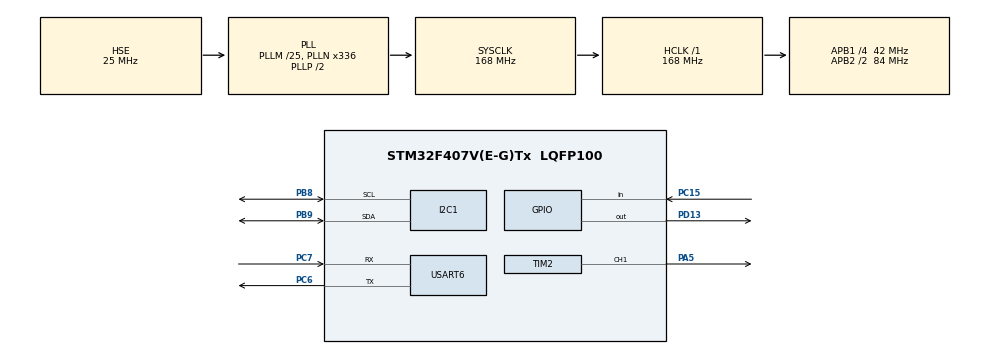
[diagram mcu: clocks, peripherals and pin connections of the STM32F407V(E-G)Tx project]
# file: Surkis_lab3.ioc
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I2C1.I2C_Mode=I2C_Standard
Mcu.Family=STM32F4
Mcu.Name=STM32F407V(E-G)Tx
Mcu.Package=LQFP100
NVIC.I2C1_ER_IRQn=true\:0\:0\:false\:false\:true\:true\:true
NVIC.I2C1_EV_IRQn=true\:0\:0\:false\:false\:true\:true\:true
NVIC.PriorityGroup=NVIC_PRIORITYGROUP_4
NVIC.TIM6_DAC_IRQn=true\:0\:0\:false\:false\:true\:true\:true
PA13.Mode=JTAG_5_pins
PA13.Signal=SYS_JTMS-SWDIO
PA14.Mode=JTAG_5_pins
PA14.Signal=SYS_JTCK-SWCLK
PA15.Mode=JTAG_5_pins
PA15.Signal=SYS_JTDI
PA5.Signal=S_TIM2_CH1_ETR
PB3.Mode=JTAG_5_pins
PB3.Signal=SYS_JTDO-SWO
PB4.Mode=JTAG_5_pins
PB4.Signal=SYS_JTRST
PB8.Mode=I2C
PB8.Signal=I2C1_SCL
PB9.Mode=I2C
PB9.Signal=I2C1_SDA
PC15-OSC32_OUT.Signal=GPIO_Input
PC6.Mode=Asynchronous
PC6.Signal=USART6_TX
PC7.Mode=Asynchronous
PC7.Signal=USART6_RX
PD13.Signal=GPIO_Output
PH0-OSC_IN.Mode=HSE-External-Oscillator
PH0-OSC_IN.Signal=RCC_OSC_IN
PH1-OSC_OUT.Mode=HSE-External-Oscillator
PH1-OSC_OUT.Signal=RCC_OSC_OUT
ProjectManager.HeapSize=0x200
ProjectManager.StackSize=0x400
ProjectManager.TargetToolchain=STM32CubeIDE
RCC.48MHZClocksFreq_Value=84000000
RCC.AHBFreq_Value=168000000
RCC.APB1CLKDivider=RCC_HCLK_DIV4
RCC.APB1Freq_Value=42000000
RCC.APB1TimFreq_Value=84000000
RCC.APB2CLKDivider=RCC_HCLK_DIV2
RCC.APB2Freq_Value=84000000
RCC.APB2TimFreq_Value=168000000
RCC.CortexFreq_Value=168000000
RCC.HCLKFreq_Value=168000000
RCC.HSE_VALUE=25000000
RCC.HSI_VALUE=16000000
RCC.LSE_VALUE=32768
RCC.PLLM=25
RCC.PLLN=336
RCC.PLLSourceVirtual=RCC_PLLSOURCE_HSE
RCC.SYSCLKFreq_VALUE=168000000
RCC.SYSCLKSource=RCC_SYSCLKSOURCE_PLLCLK
RCC.VCOOutputFreq_Value=336000000
SH.S_TIM2_CH1_ETR.0=TIM2_CH1,PWM Generation1 CH1
TIM2.Channel-PWM\ Generation1\ CH1=TIM_CHANNEL_1
TIM2.Period=10
TIM6.Period=100
TIM6.Prescaler=16000
USART6.VirtualMode=VM_ASYNC
VP_TIM6_VS_ClockSourceINT.Mode=Enable_Timer
board=custom

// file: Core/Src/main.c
/* USER CODE BEGIN Header */
/* USER CODE END Header */

#include "main.h"
#include "i2c.h"
#include "tim.h"
#include "usart.h"
#include "gpio.h"

/* USER CODE BEGIN Includes */
#include <stdio.h>
#include "buzzer.h"
#include "sdk_uart.h"
#include "kb.h"
/* USER CODE END Includes */

/* USER CODE BEGIN PTD */
enum MainState {
	MS_IDLE, MS_PLAY, MS_EDIT,
};
/* USER CODE END PTD */

/* USER CODE BEGIN PD */
#define FIFO_BUFFER_SIZE 32
/* USER CODE END PD */

/* USER CODE BEGIN PV */
uint8_t event_buf[FIFO_BUFFER_SIZE];
size_t write_ptr = 0;
size_t read_ptr = 0;
int btn_state_prev = 0;
int btn_state = 0;
char print_buf[256];
/* USER CODE END PV */

void SystemClock_Config(void);

/* USER CODE BEGIN 0 */

void InitBuffer() {
	for (size_t i = 0; i < FIFO_BUFFER_SIZE; ++i)
		event_buf[i] = 0;
}

void AppendBuffer(uint8_t num) {
	event_buf[write_ptr] = num;
	write_ptr = (write_ptr + 1) % FIFO_BUFFER_SIZE;
}

int ReadBuffer() {
	if (read_ptr == write_ptr) {
		return -1;
	}
	uint8_t num = event_buf[read_ptr];
	read_ptr = (read_ptr + 1) % FIFO_BUFFER_SIZE;
	return num;
}

void KB_Test(void) {
	static uint8_t const rows[4] = { 0xF7, 0x7B, 0x3D, 0x1E };
	static int current_row = 0;
	static int row_result[4] = { 0, 0, 0, 0 };

	if (ks_state == 0) {
		if (row_result[current_row] != ks_result) {
			uint8_t keyNum = 0;
			if (ks_result & 1) {
				AppendBuffer(3 * current_row + 1);
			}
			if (ks_result & 2) {
				AppendBuffer(3 * current_row + 2);
			}
			if (ks_result & 4) {
				AppendBuffer(3 * current_row + 3);
			}
		}

		row_result[current_row] = ks_result;
		current_row = (current_row + 1) % 4;
		ks_current_row = rows[current_row];
		ks_continue();
	}
}

void HAL_I2C_MemTxCpltCallback(I2C_HandleTypeDef *hi2c) {
	if (hi2c == &hi2c1 && ks_state) {
		ks_continue();
	}
}

void HAL_I2C_MemRxCpltCallback(I2C_HandleTypeDef *hi2c) {
	if (hi2c == &hi2c1 && ks_state) {
		ks_continue();
	}
}

void HAL_TIM_PeriodElapsedCallback(TIM_HandleTypeDef *htim) {
	if (htim->Instance == TIM6) {
		KB_Test();
	}
}

void UpdateButtonState() {
	static uint32_t last_change_tick = 0;
	static uint32_t last_tick = 0;
	static uint8_t state = 0;

	btn_state_prev = btn_state;

	uint32_t curr_tick = HAL_GetTick();
	if (curr_tick <= last_tick)
		return;
	last_tick = curr_tick;

	state += HAL_GPIO_ReadPin(GPIOC, GPIO_PIN_15);

	if (curr_tick >= last_change_tick + 20) {
		last_change_tick = curr_tick;
		btn_state = state >= 10;
		state = 0;
	}
}

uint32_t const megalovania_melody[] = { N_D3, N_D3, N_D4, N_A3, 0, N_GS3, N_G3,
N_F3, N_D3, N_F3, N_G3, N_C3, N_C3, N_D4, N_A3, 0, N_GS3, N_G3,
N_F3, N_D3, N_F3, N_G3, N_B2, N_B2, N_D4, N_A3, 0, N_GS3, N_G3,
N_F3, N_D3, N_F3, N_G3, N_AS2, N_AS2, N_D4, N_A3, 0, N_GS3, N_G3,
N_F3, N_D3, N_F3, N_G3, N_D3, N_D3, N_D4, N_A3, 0, N_GS3, N_G3,
N_F3, N_D3, N_F3, N_G3, N_C3, N_C3, N_D4, N_A3, 0, N_GS3, N_G3,
N_F3, N_D3, N_F3, N_G3, N_B2, N_B2, N_D4, N_A3, 0, N_GS3, N_G3,
N_F3, N_D3, N_F3, N_G3, N_AS2, N_AS2, N_D4, N_A3, 0, N_GS3, N_G3,
N_F3, N_D3, N_F3, N_G3, N_D4, N_D4, N_D5, N_A4, 0, N_GS4, N_G4,
N_F4, N_D4, N_F4, N_G4, N_C4, N_C4, N_D5, N_A4, 0, N_GS4, N_G4,
N_F4, N_D4, N_F4, N_G4, N_B3, N_B3, N_D5, N_A4, 0, N_GS4, N_G4,
N_F4, N_D4, N_F4, N_G4, N_AS3, N_AS3, N_D5, N_A4, 0, N_GS4, N_G4,
N_F4, N_D4, N_F4, N_G4, N_D4, N_D4, N_D5, N_A4, 0, N_GS4, N_G4,
N_F4, N_D4, N_F4, N_G4, N_C4, N_C4, N_D5, N_A4, 0, N_GS4, N_G4,
N_F4, N_D4, N_F4, N_G4, N_B3, N_B3, N_D5, N_A4, 0, N_GS4, N_G4,
N_F4, N_D4, N_F4, N_G4, N_AS3, N_AS3, N_D5, N_A4, 0, N_GS4, N_G4,
N_F4, N_D4, N_F4, N_G4, N_F4, N_F4, N_F4, N_F4, N_F4, N_D4, N_D4,
N_D4, N_F4, N_F4, N_F4, N_G4, N_GS4, N_G4, N_F4, N_D4, N_F4, N_G4, 0, N_F4,
N_F4, N_F4, N_G4, N_GS4, N_A4, N_C5, N_A4, N_D5, N_D5,
N_D5, N_A4, N_D5, N_C5, N_F4, N_F4, N_F4, N_F4, N_F4, N_D4, N_D4,
N_D4, N_F4, N_F4, N_F4, N_F4, N_D4, N_F4, N_E4, N_D4, N_C4, 0, N_G4,
N_E4, N_D4, N_D4, N_D4, N_D4, N_F3, N_G3, N_AS3, N_C4, N_D4, N_F4,
N_C5, 0, N_F4, N_D4, N_F4, N_G4, N_GS4, N_G4, N_F4, N_D4, N_GS4,
N_G4, N_F4, N_D4, N_F4, N_F4, N_F4, N_GS4, N_A4, N_C5, N_A4, N_GS4,
N_G4, N_F4, N_D4, N_E4, N_F4, N_G4, N_A4, N_C5, N_CS5, N_GS4, N_GS4,
N_G4, N_F4, N_G4, N_F3, N_G3, N_A3, N_F4, N_E4, N_D4, N_E4, N_F4,
N_G4, N_E4, N_A4, N_A4, N_G4, N_F4, N_DS4, N_CS4, N_DS4, 0, N_F4,
N_D4, N_F4, N_G4, N_GS4, N_G4, N_F4, N_D4, N_GS4, N_G4, N_F4, N_D4,
N_F4, N_F4, N_F4, N_GS4, N_A4, N_C5, N_A4, N_GS4, N_G4, N_F4, N_D4,
N_E4, N_F4, N_G4, N_A4, N_C5, N_CS5, N_GS4, N_GS4, N_G4, N_F4, N_G4,
N_F3, N_G3, N_A3, N_F4, N_E4, N_D4, N_E4, N_F4, N_G4, N_E4, N_A4,
N_A4, N_G4, N_F4, N_DS4, N_CS4, N_DS4, };
uint32_t const megalovania_delays[] = { 16, 16, 8, 6, 32, 8, 8, 8, 16, 16, 16,
		16, 16, 8, 6, 32, 8, 8, 8, 16, 16, 16, 16, 16, 8, 6, 32, 8, 8, 8, 16,
		16, 16, 16, 16, 8, 6, 32, 8, 8, 8, 16, 16, 16, 16, 16, 8, 6, 32, 8, 8,
		8, 16, 16, 16, 16, 16, 8, 6, 32, 8, 8, 8, 16, 16, 16, 16, 16, 8, 6, 32,
		8, 8, 8, 16, 16, 16, 16, 16, 8, 6, 32, 8, 8, 8, 16, 16, 16, 16, 16, 8,
		6, 32, 8, 8, 8, 16, 16, 16, 16, 16, 8, 6, 32, 8, 8, 8, 16, 16, 16, 16,
		16, 8, 6, 32, 8, 8, 8, 16, 16, 16, 16, 16, 8, 6, 32, 8, 8, 8, 16, 16,
		16, 16, 16, 8, 6, 32, 8, 8, 8, 16, 16, 16, 16, 16, 8, 6, 32, 8, 8, 8,
		16, 16, 16, 16, 16, 8, 6, 32, 8, 8, 8, 16, 16, 16, 16, 16, 8, 6, 32, 8,
		8, 8, 16, 16, 16, 8, 16, 8, 8, 8, 8, 4, 16, 8, 16, 8, 8, 8, 16, 16, 16,
		16, 16, 8, 8, 16, 8, 8, 8, 8, 8, 8, 8, 8, 16, 16, 16, 2, 8, 16, 8, 8, 8,
		8, 4, 16, 8, 16, 8, 8, 8, 8, 8, 16, 8, 16, 8, 8, 8, 8, 8, 8, 8, 16, 8,
		15, 8, 8, 2, 3, 16, 16, 16, 16, 16, 16, 16, 16, 16, 16, 16, 16, 8, 2,
		16, 8, 16, 8, 16, 16, 16, 16, 16, 16, 8, 8, 8, 8, 8, 8, 16, 16, 16, 2,
		8, 8, 8, 8, 4, 4, 4, 4, 4, 4, 2, 8, 8, 8, 8, 2, 2, 3, 16, 16, 16, 16,
		16, 16, 16, 16, 16, 16, 16, 16, 8, 2, 16, 8, 16, 8, 16, 16, 16, 16, 16,
		16, 8, 8, 8, 8, 8, 8, 16, 16, 16, 2, 8, 8, 8, 8, 4, 4, 4, 4, 4, 4, 2, 8,
		8, 8, 8, 2, 1 };
uint32_t const zelda_melody[] = { N_AS4, 0, 0, N_AS4, N_AS4, N_AS4, N_AS4,
N_AS4, 0,
N_GS4, N_AS4, 0, 0, N_AS4, N_AS4, N_AS4, N_AS4, N_AS4, 0, N_GS4,
N_AS4, 0, 0, N_AS4, N_AS4, N_AS4, N_AS4, N_AS4, N_F3, N_F3, N_F3,
N_F3, N_F3, N_F3, N_F3, N_F3, N_F3, N_F3, N_AS4, N_F3, N_F3, 0,
N_AS4, N_AS4, N_C5, N_D5, N_DS5, N_F5, 0, N_F5, N_F5, N_FS5, N_GS5,
N_AS5, 0, N_AS5, N_AS5, N_AS5, N_GS5, N_FS5, N_GS5, 0, N_FS5, N_F5,
N_F5, N_DS5, N_DS5, N_F5, N_FS5, N_F5, N_DS5, N_CS5, N_CS5, N_DS5,
N_F5, N_DS5, N_CS5, N_C5, N_C5, N_D5, N_E5, N_G5, N_F5, N_F3, N_F3,
N_F3, N_F3, N_F3, N_F3, N_F3, N_F3, N_F3, N_F3, N_AS4, N_F3, N_F3, 0,
N_AS4, N_AS4, N_C5, N_D5, N_DS5, N_F5, 0, N_F5, N_F5, N_FS5,
N_GS5, N_AS5, 0, N_CS6, N_C6, N_A5, 0, N_F5, N_FS5, 0, N_AS5, N_A5,
N_F5, 0, N_F5, N_FS5, 0, N_AS5, N_A5, N_F5, 0, N_D5, N_DS5, 0,
N_FS5, N_F5, N_CS5, 0, N_AS4, N_C5, N_C5, N_D5, N_E5, 0, N_G5, N_F5,
N_F3, N_F3, N_F3, N_F3, N_F3, N_F3, N_F3, N_F3, N_F3, N_F3, N_AS4,
N_F3, N_F3, 0, N_AS4, N_AS4, N_C5, N_D5, N_DS5, N_F5, 0, N_F5, N_F5,
N_FS5, N_GS5, N_AS5, 0, N_AS5, N_AS5, N_AS5, N_GS5, N_FS5, N_GS5, 0,
N_FS5, N_F5, N_F5, N_DS5, N_DS5, N_F5, N_FS5, N_F5, N_DS5, N_CS5,
N_CS5, N_DS5, N_F5, N_DS5, N_CS5, N_C5, N_C5, N_D5, N_E5, N_G5,
N_F5, N_F3, N_F3, N_F3, N_F3, N_F3, N_F3, N_F3, N_F3, N_F3, N_F3,
N_AS4, N_F3, N_F3, 0, N_AS4, N_AS4, N_C5, N_D5, N_DS5, N_F5, 0,
N_F5, N_F5, N_FS5, N_GS5, N_AS5, 0, N_CS6, N_C6, N_A5, 0, N_F5,
N_FS5, 0, N_AS5, N_A5, N_F5, 0, N_F5, N_FS5, 0, N_AS5, N_A5, N_F5, 0,
N_D5, N_DS5, 0, N_FS5, N_F5, N_CS5, 0, N_AS4, N_C5, N_C5, N_D5,
N_E5, 0, N_G5, N_F5, N_F3, N_F3, N_F3, N_F3, N_F3, N_F3, N_F3, N_F3,
N_F3, N_F3 };
uint32_t const zelda_delays[] = { 2, 8, 8, 8, 8, 8, 8, 6, 16, 16, 4, 8, 8, 8, 8,
		8, 8, 6, 16, 16, 4, 8, 8, 8, 8, 8, 8, 8, 16, 16, 8, 16, 16, 8, 16, 16,
		8, 8, 4, 4, 6, 16, 16, 16, 16, 16, 16, 2, 8, 8, 8, 8, 8, 2, 8, 8, 8, 8,
		8, 8, 6, 16, 16, 2, 4, 8, 16, 16, 2, 8, 8, 8, 16, 16, 2, 8, 8, 8, 16,
		16, 2, 4, 8, 16, 16, 8, 16, 16, 8, 16, 16, 8, 8, 4, 4, 6, 16, 16, 16,
		16, 16, 16, 2, 8, 8, 8, 8, 8, 2, 4, 4, 4, 4, 4, 4, 2, 4, 4, 4, 4, 4, 4,
		2, 4, 4, 4, 4, 4, 4, 2, 4, 4, 4, 4, 4, 4, 8, 16, 16, 4, 4, 4, 8, 16, 16,
		8, 16, 16, 8, 16, 16, 8, 8, 4, 4, 6, 16, 16, 16, 16, 16, 16, 2, 8, 8, 8,
		8, 8, 2, 8, 8, 8, 8, 8, 8, 6, 16, 16, 2, 4, 8, 16, 16, 2, 8, 8, 8, 16,
		16, 2, 8, 8, 8, 16, 16, 2, 4, 8, 16, 16, 8, 16, 16, 8, 16, 16, 8, 8, 4,
		4, 6, 16, 16, 16, 16, 16, 16, 2, 8, 8, 8, 8, 8, 2, 4, 4, 4, 4, 4, 4, 2,
		4, 4, 4, 4, 4, 4, 2, 4, 4, 4, 4, 4, 4, 2, 4, 4, 4, 4, 4, 4, 8, 16, 16,
		4, 4, 4, 8, 16, 16, 8, 16, 16, 8, 16, 16, 8, 8 };

#define USER_MELODY_LENGTH 128
uint32_t user_melody[USER_MELODY_LENGTH];
uint32_t user_delays[USER_MELODY_LENGTH];

uint32_t const *const melodies[] = { megalovania_melody, zelda_melody, NULL,
NULL, user_melody };
uint32_t const *const delays[] = { megalovania_delays, zelda_delays, NULL, NULL,
		user_delays };
size_t lengths[] = { sizeof(megalovania_melody) / sizeof(megalovania_melody[0]),
		sizeof(zelda_melody) / sizeof(zelda_melody[0]), 0, 0,
		USER_MELODY_LENGTH };
/* USER CODE END 0 */

int main(void) {
	/* USER CODE BEGIN 1 */
	for (size_t i = 0; i < USER_MELODY_LENGTH; ++i) {
		user_melody[i] = 0;
		user_delays[i] = 4;
	}
	/* USER CODE END 1 */

	/* MCU Configuration--------------------------------------------------------*/

	/* Reset of all peripherals, Initializes the Flash interface and the Systick. */
	HAL_Init();

	/* Configure the system clock */
	SystemClock_Config();

	/* Initialize all configured peripherals */
	MX_GPIO_Init();
	MX_USART6_UART_Init();
	MX_I2C1_Init();
	MX_TIM6_Init();
	MX_TIM2_Init();
	/* USER CODE BEGIN 2 */

	Buzzer_Init();
	HAL_TIM_Base_Start_IT(&htim6);

	int is_test_mode = 1;
	enum MainState state = MS_IDLE;
	int curr_melody;
	size_t melody_pos;
	uint32_t melody_ts;

	/* USER CODE END 2 */

	/* Infinite loop */
	/* USER CODE BEGIN WHILE */
	for (;;) {
		UpdateButtonState();
		if (btn_state && !btn_state_prev) {
			is_test_mode ^= 1;
			if (is_test_mode) {
				UART_Transmit((uint8_t*) "Testing mode\r\n");
			} else {
				UART_Transmit((uint8_t*) "Returning to previous mode\r\n");
			}
		}
		HAL_GPIO_WritePin(GPIOD, GPIO_PIN_13, is_test_mode);
		if (is_test_mode) {
			Buzzer_Set_Volume(BUZZER_VOLUME_MUTE);
			int key = ReadBuffer();
			if (key >= 0) {
				snprintf(print_buf, sizeof(print_buf), "Keycode = %d\r\n", key);
				UART_Transmit((uint8_t*) print_buf);
			}
		} else {
			int key = ReadBuffer();
			switch (key) {
			case 1:
			case 2:
			case 3:
			case 4:
			case 5:
				melody_pos = 0;
				melody_ts = HAL_GetTick();
				curr_melody = key - 1;
				snprintf(print_buf, sizeof(print_buf), "Playing melody %d\r\n",
						curr_melody + 1);
				UART_Transmit((uint8_t*) print_buf);
				state = MS_PLAY;
				break;
			case 6:
				melody_pos = 0;
				curr_melody = 4;
				lengths[curr_melody] = 0;
				snprintf(print_buf, sizeof(print_buf),
						"Editing user melody\r\n");
				UART_Transmit((uint8_t*) print_buf);
				state = MS_EDIT;
				break;
			case 7:
				snprintf(print_buf, sizeof(print_buf),
						"Going to idle mode\r\n");
				UART_Transmit((uint8_t*) print_buf);
				state = MS_IDLE;
				break;
			case 8:
				snprintf(print_buf, sizeof(print_buf),
						"Printing melody %d notes\r\n", curr_melody + 1);
				UART_Transmit((uint8_t*) print_buf);
				for (size_t i = 0; i < lengths[curr_melody]; ++i) {
					snprintf(print_buf, sizeof(print_buf), "%d ",
							(int) melodies[curr_melody][i]);
					UART_Transmit((uint8_t*) print_buf);
				}
				snprintf(print_buf, sizeof(print_buf), "\r\n");
				UART_Transmit((uint8_t*) print_buf);
				break;
			case 9:
				snprintf(print_buf, sizeof(print_buf),
						"Adding note %d to melody %d\r\n", (int) N_D3,
						curr_melody + 1);
				UART_Transmit((uint8_t*) print_buf);
				user_melody[lengths[curr_melody]++] = N_D3;
				break;
			case 10:
				snprintf(print_buf, sizeof(print_buf),
						"Adding note %d to melody %d\r\n", (int) N_D4,
						curr_melody + 1);
				UART_Transmit((uint8_t*) print_buf);
				user_melody[lengths[curr_melody]++] = N_D4;
				break;
			case 11:
				snprintf(print_buf, sizeof(print_buf),
						"Adding note %d to melody %d\r\n", (int) N_A3,
						curr_melody + 1);
				UART_Transmit((uint8_t*) print_buf);
				user_melody[lengths[curr_melody]++] = N_A3;
				break;
			case 12:
				snprintf(print_buf, sizeof(print_buf),
						"Adding note %d to melody %d\r\n", (int) N_GS3,
						curr_melody + 1);
				UART_Transmit((uint8_t*) print_buf);
				user_melody[lengths[curr_melody]++] = N_GS3;
				break;
			}

			uint32_t note, delay;
			uint32_t tick = HAL_GetTick();
			switch (state) {
			case MS_IDLE:
			case MS_EDIT:
				Buzzer_Set_Volume(BUZZER_VOLUME_MUTE);
				break;
			case MS_PLAY:
				if (melody_pos < 0 || melody_pos >= lengths[curr_melody]) {
					state = MS_IDLE;
					break;
				}
				note = melodies[curr_melody][melody_pos];
				delay = delays[curr_melody][melody_pos];
				if (tick > melody_ts + 1920 / delay + 10) {
					melody_ts += 1920 / delay;
					++melody_pos;
				} else if (tick > melody_ts + 1920 / delay) {
					Buzzer_Set_Volume(BUZZER_VOLUME_MUTE);
				} else {
					if (note) {
						Buzzer_Set_Freq(note);
						Buzzer_Set_Volume(BUZZER_VOLUME_MAX);
					} else {
						Buzzer_Set_Volume(BUZZER_VOLUME_MUTE);
					}
				}
				break;
			}
		}

		/* USER CODE END WHILE */

	}
}

void SystemClock_Config(void) {
	RCC_OscInitTypeDef RCC_OscInitStruct = { 0 };
	RCC_ClkInitTypeDef RCC_ClkInitStruct = { 0 };

	/** Configure the main internal regulator output voltage
	 */
	__HAL_RCC_PWR_CLK_ENABLE();
	__HAL_PWR_VOLTAGESCALING_CONFIG(PWR_REGULATOR_VOLTAGE_SCALE1);
	/** Initializes the CPU, AHB and APB busses clocks
	 */
	RCC_OscInitStruct.OscillatorType = RCC_OSCILLATORTYPE_HSE;
	RCC_OscInitStruct.HSEState = RCC_HSE_ON;
	RCC_OscInitStruct.PLL.PLLState = RCC_PLL_ON;
	RCC_OscInitStruct.PLL.PLLSource = RCC_PLLSOURCE_HSE;
	RCC_OscInitStruct.PLL.PLLM = 25;
	RCC_OscInitStruct.PLL.PLLN = 336;
	RCC_OscInitStruct.PLL.PLLP = RCC_PLLP_DIV2;
	RCC_OscInitStruct.PLL.PLLQ = 4;
	if (HAL_RCC_OscConfig(&RCC_OscInitStruct) != HAL_OK) {
		Error_Handler();
	}
	/** Initializes the CPU, AHB and APB busses clocks
	 */
	RCC_ClkInitStruct.ClockType = RCC_CLOCKTYPE_HCLK | RCC_CLOCKTYPE_SYSCLK
			| RCC_CLOCKTYPE_PCLK1 | RCC_CLOCKTYPE_PCLK2;
	RCC_ClkInitStruct.SYSCLKSource = RCC_SYSCLKSOURCE_PLLCLK;
	RCC_ClkInitStruct.AHBCLKDivider = RCC_SYSCLK_DIV1;
	RCC_ClkInitStruct.APB1CLKDivider = RCC_HCLK_DIV4;
	RCC_ClkInitStruct.APB2CLKDivider = RCC_HCLK_DIV2;

	if (HAL_RCC_ClockConfig(&RCC_ClkInitStruct, FLASH_LATENCY_5) != HAL_OK) {
		Error_Handler();
	}
}

void Error_Handler(void) {
}

/************************ (C) COPYRIGHT STMicroelectronics *****END OF FILE****/
